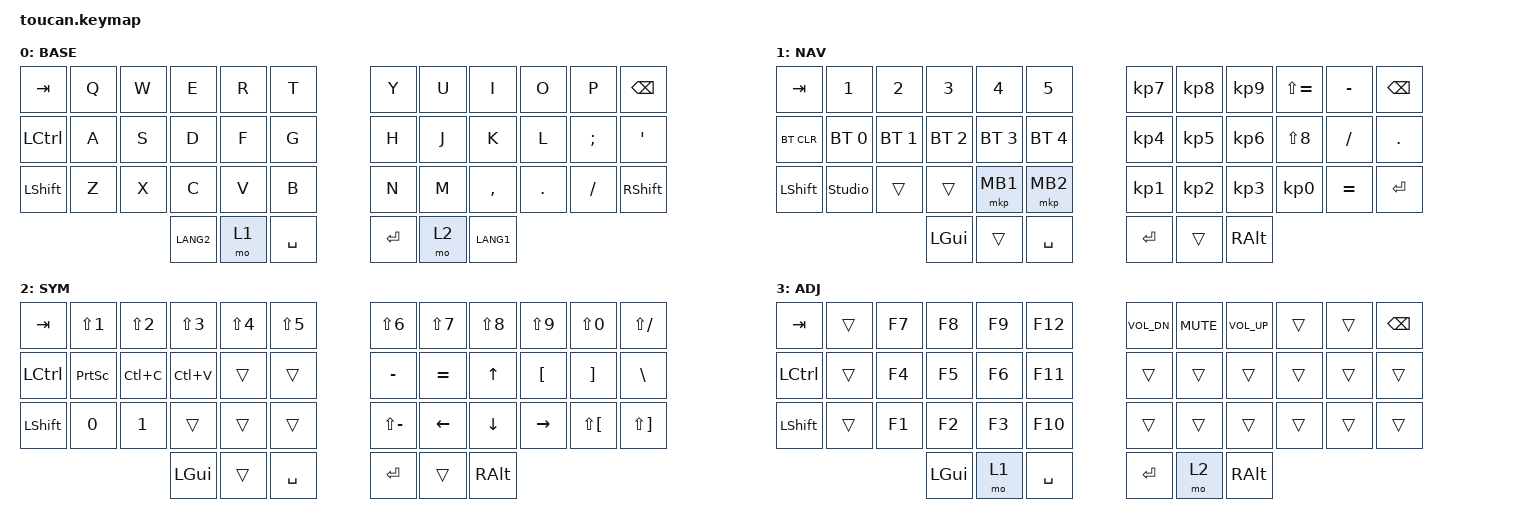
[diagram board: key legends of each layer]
#include <behaviors.dtsi>
#include <dt-bindings/zmk/keys.h>
#include <dt-bindings/zmk/bt.h>
#include <dt-bindings/zmk/mouse.h>

/ {
    conditional_layers {
        compatible = "zmk,conditional-layers";
        adj_layer {
            if-layers = <1 2>;
            then-layer = <3>;
        };
    };

    keymap {
        compatible = "zmk,keymap";

        default_layer {
            display-name = "BASE";
            bindings = <
                &kp TAB               &kp Q                 &kp W                 &kp E                 &kp R                 &kp T                 &kp Y                 &kp U                 &kp I                 &kp O                 &kp P                 &kp BSPC              
                &kp LCTRL             &kp A                 &kp S                 &kp D                 &kp F                 &kp G                 &kp H                 &kp J                 &kp K                 &kp L                 &kp SEMI              &kp SQT               
                &kp LSHFT             &kp Z                 &kp X                 &kp C                 &kp V                 &kp B                 &kp N                 &kp M                 &kp COMMA             &kp DOT               &kp FSLH              &kp RSHFT             
                                            &kp LANG2             &mo 1                 &kp SPACE             &kp RET               &mo 2                 &kp LANG1             
            >;
        };

        nav_layer {
            display-name = "NAV";
            bindings = <
                &kp TAB               &kp N1                &kp N2                &kp N3                &kp N4                &kp N5                &kp KP_N7             &kp KP_N8             &kp KP_N9             &kp LS(EQUAL)         &kp MINUS             &kp BSPC              
                &bt BT_CLR            &bt BT_SEL 0          &bt BT_SEL 1          &bt BT_SEL 2          &bt BT_SEL 3          &bt BT_SEL 4          &kp KP_N4             &kp KP_N5             &kp KP_N6             &kp LS(N8)            &kp FSLH              &kp DOT               
                &kp LSHFT             &studio_unlock        &trans                &trans                &mkp MB1              &mkp MB2              &kp KP_N1             &kp KP_N2             &kp KP_N3             &kp KP_N0             &kp EQUAL             &kp RET               
                                            &kp LGUI              &trans                &kp SPACE             &kp RET               &trans                &kp RALT              
            >;
        };

        sym_layer {
            display-name = "SYM";
            bindings = <
                &kp TAB               &kp LS(N1)            &kp LS(N2)            &kp LS(N3)            &kp LS(N4)            &kp LS(N5)            &kp LS(N6)            &kp LS(N7)            &kp LS(N8)            &kp LS(N9)            &kp LS(N0)            &kp LS(FSLH)          
                &kp LCTRL             &kp PSCRN             &kp LC(C)             &kp LC(V)             &trans                &trans                &kp MINUS             &kp EQUAL             &kp UP                &kp LBKT              &kp RBKT              &kp BSLH              
                &kp LSHFT             &kp N0                &kp N1                &trans                &trans                &trans                &kp LS(MINUS)         &kp LEFT              &kp DOWN              &kp RIGHT             &kp LS(LBKT)          &kp LS(RBKT)          
                                            &kp LGUI              &trans                &kp SPACE             &kp RET               &trans                &kp RALT              
            >;
        };

        adj_layer {
            display-name = "ADJ";
            bindings = <
                &kp TAB               &trans                &kp F7                &kp F8                &kp F9                &kp F12               &kp C_VOL_DN          &kp C_MUTE            &kp C_VOL_UP          &trans                &trans                &kp BSPC              
                &kp LCTRL             &trans                &kp F4                &kp F5                &kp F6                &kp F11               &trans                &trans                &trans                &trans                &trans                &trans                
                &kp LSHFT             &trans                &kp F1                &kp F2                &kp F3                &kp F10               &trans                &trans                &trans                &trans                &trans                &trans                
                                            &kp LGUI              &mo 1                 &kp SPACE             &kp RET               &mo 2                 &kp RALT              
            >;
        };
    };
};
